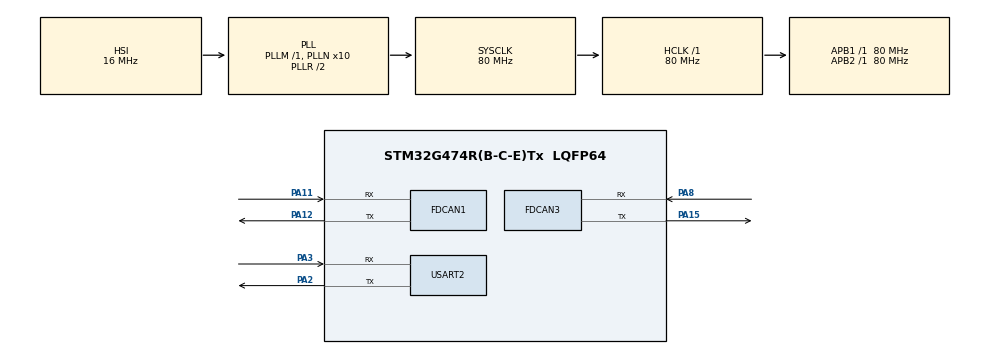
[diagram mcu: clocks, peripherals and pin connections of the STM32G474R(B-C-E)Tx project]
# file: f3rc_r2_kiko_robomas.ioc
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FDCAN1.CalculateBaudRateNominal=1000000
FDCAN1.CalculateTimeBitNominal=1000
FDCAN1.CalculateTimeQuantumNominal=50.0
FDCAN1.DataPrescaler=2
FDCAN1.DataTimeSeg1=15
FDCAN1.DataTimeSeg2=4
FDCAN1.FrameFormat=FDCAN_FRAME_FD_BRS
FDCAN1.NominalPrescaler=4
FDCAN1.NominalTimeSeg1=15
FDCAN1.NominalTimeSeg2=4
FDCAN1.StdFiltersNbr=1
FDCAN3.CalculateBaudRateNominal=1000000
FDCAN3.CalculateTimeBitNominal=1000
FDCAN3.CalculateTimeQuantumNominal=50.0
FDCAN3.DataPrescaler=2
FDCAN3.DataTimeSeg1=15
FDCAN3.DataTimeSeg2=4
FDCAN3.FrameFormat=FDCAN_FRAME_FD_BRS
FDCAN3.NominalPrescaler=4
FDCAN3.NominalTimeSeg1=15
FDCAN3.NominalTimeSeg2=4
FDCAN3.StdFiltersNbr=1
Mcu.Family=STM32G4
Mcu.Name=STM32G474R(B-C-E)Tx
Mcu.Package=LQFP64
NVIC.FDCAN1_IT0_IRQn=true\:0\:0\:false\:false\:true\:true\:true\:true
NVIC.FDCAN1_IT1_IRQn=true\:0\:0\:false\:false\:true\:true\:true\:true
NVIC.FDCAN3_IT0_IRQn=true\:0\:0\:false\:false\:true\:true\:true\:true
NVIC.FDCAN3_IT1_IRQn=true\:0\:0\:false\:false\:true\:true\:true\:true
NVIC.PriorityGroup=NVIC_PRIORITYGROUP_4
NVIC.TIM6_DAC_IRQn=true\:0\:0\:false\:false\:true\:true\:true\:true
PA11.Mode=FDCAN_Activate
PA11.Signal=FDCAN1_RX
PA12.Mode=FDCAN_Activate
PA12.Signal=FDCAN1_TX
PA15.Mode=FDCAN_Activate
PA15.Signal=FDCAN3_TX
PA2.Mode=Asynchronous
PA2.Signal=USART2_TX
PA3.Mode=Asynchronous
PA3.Signal=USART2_RX
PA8.Mode=FDCAN_Activate
PA8.Signal=FDCAN3_RX
ProjectManager.HeapSize=0x200
ProjectManager.StackSize=0x400
ProjectManager.TargetToolchain=STM32CubeIDE
RCC.ADC12Freq_Value=80000000
RCC.ADC345Freq_Value=80000000
RCC.AHBFreq_Value=80000000
RCC.APB1Freq_Value=80000000
RCC.APB1TimFreq_Value=80000000
RCC.APB2Freq_Value=80000000
RCC.APB2TimFreq_Value=80000000
RCC.CortexFreq_Value=80000000
RCC.EXTERNAL_CLOCK_VALUE=12288000
RCC.HCLKFreq_Value=80000000
RCC.HSE_VALUE=8000000
RCC.HSI48_VALUE=48000000
RCC.HSI_VALUE=16000000
RCC.LSE_VALUE=32768
RCC.PLLN=10
RCC.SYSCLKFreq_VALUE=80000000
RCC.SYSCLKSource=RCC_SYSCLKSOURCE_PLLCLK
RCC.USBFreq_Value=80000000
RCC.VCOOutputFreq_Value=160000000
TIM6.PeriodNoDither=7999
TIM6.Prescaler=9
USART2.VirtualMode-Asynchronous=VM_ASYNC
VP_SYS_VS_DBSignals.Mode=DisableDeadBatterySignals
VP_TIM6_VS_ClockSourceINT.Mode=Enable_Timer
board=custom

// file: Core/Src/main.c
/* USER CODE BEGIN Header */
/**
  ******************************************************************************
  * @file           : main.c
  * @brief          : Main program body
  ******************************************************************************
  * @attention
  *
  * Copyright (c) 2024 STMicroelectronics.
  * All rights reserved.
  *
  * This software is licensed under terms that can be found in the LICENSE file
  * in the root directory of this software component.
  * If no LICENSE file comes with this software, it is provided AS-IS.
  *
  ******************************************************************************
  */
/* USER CODE END Header */
#include "main.h"

/* USER CODE BEGIN Includes */
#include <stdio.h>
/* USER CODE END Includes */

/* USER CODE BEGIN PTD */
typedef struct{
	uint16_t CANID;
	uint8_t motorID;
	int16_t trgVel;
	volatile int16_t actVel;
	volatile int16_t p_actVel;
	volatile int16_t cu;
	double angle;
	int16_t actCurrent;
	float hensa;
	float ind;
	float w;
}motor;
/* USER CODE END PTD */

/* USER CODE BEGIN PD */
#define true 1
#define false 0
/* USER CODE END PD */

FDCAN_HandleTypeDef hfdcan1;
FDCAN_HandleTypeDef hfdcan3;

TIM_HandleTypeDef htim6;

UART_HandleTypeDef huart2;

/* USER CODE BEGIN PV */
FDCAN_TxHeaderTypeDef TxHeader;
FDCAN_RxHeaderTypeDef RxHeader;
FDCAN_TxHeaderTypeDef TxHeader_motor;
FDCAN_RxHeaderTypeDef RxHeader_motor;
FDCAN_FilterTypeDef sFilterConfig;

uint8_t TxData[8] = {};
uint8_t RxData[8] = {};
uint8_t TxData_motor[8] = {};
uint8_t RxData_motor[8] = {};
uint32_t TxMailbox;

motor robomas[3] = {
		{0x201, 1, 0, 0, 0, 0, 0, 0, 0, 0, 0},
		{0x202, 2, 0, 0, 0, 0, 0, 0, 0, 0, 0},
		{0x203, 3, 0, 0, 0, 0, 0, 0, 0, 0, 0}
};
uint8_t state = 0, state_kiko = 3;
uint8_t sub_state = 0;
volatile float k_p = 7, k_i = 0.5, k_d = 0.0001;
/* USER CODE END PV */

void SystemClock_Config(void);
static void MX_GPIO_Init(void);
static void MX_FDCAN1_Init(void);
static void MX_TIM6_Init(void);
static void MX_USART2_UART_Init(void);
static void MX_FDCAN3_Init(void);

/* USER CODE BEGIN 0 */
void HAL_TIM_PeriodElapsedCallback(TIM_HandleTypeDef *htim){
	if(htim == &htim6){
		robomas[0].trgVel = 36 * 45;
		robomas[1].trgVel = -36 * 90;
		robomas[2].trgVel = -36 * 60;
		if (0 == state || 1 == state) {
			robomas[0].trgVel = 0;
			robomas[1].trgVel = 0;
			robomas[2].trgVel = 0;
		}
		for (int i=0; i<=2; i++){
			robomas[i].hensa = robomas[i].trgVel - robomas[i].actVel;
			if (robomas[i].hensa >= 1000) robomas[i].hensa = 1000;
			else if (robomas[i].hensa <= -1000) robomas[i].hensa = -1000;
			float d = (robomas[i].actVel - robomas[i].p_actVel) / 0.001;
			robomas[i].ind += robomas[i].hensa*0.1;
			if (d >= 30000) d = 30000;
			else if (d <= -30000) d = -30000;
			if (robomas[i].ind >= 10000) robomas[i].ind = 10000;
			else if (robomas[i].ind <= -10000) robomas[i].ind = -10000;

			float t = k_p*robomas[i].hensa;
			if (t>=10000) t = 10000;
			else if (t<=-10000) t = -10000;
			robomas[i].cu = (int16_t)(t+k_i*robomas[i].ind+k_d*d);
			if (robomas[i].cu <= -10000) robomas[i].cu = -10000;
			else if (robomas[i].cu >= 10000) robomas[i].cu = 10000;

			TxData_motor[i*2] = (robomas[i].cu) >> 8;
			TxData_motor[i*2+1] = (uint8_t)((robomas[i].cu) & 0xff);
			robomas[i].p_actVel = robomas[i].actVel;
		}
		if (HAL_FDCAN_AddMessageToTxFifoQ(&hfdcan3, &TxHeader_motor, TxData_motor) != HAL_OK){
			printf("addmassage is error\r\n");
			Error_Handler();
		}
	}
}

void HAL_FDCAN_RxFifo0Callback(FDCAN_HandleTypeDef *hfdcan, uint32_t RxFifo0ITs){
	if ((RxFifo0ITs & FDCAN_IT_RX_FIFO0_NEW_MESSAGE) != RESET) {

	        /* Retrieve Rx messages from RX FIFO0 */
		if (HAL_FDCAN_GetRxMessage(&hfdcan3, FDCAN_RX_FIFO0, &RxHeader_motor, RxData_motor) != HAL_OK) {
			printf("fdcan_getrxmessage_motor is error\r\n");
			Error_Handler();
		}
		for (int i = 0; i < 3; i++) {
			if (RxHeader_motor.Identifier == (robomas[i].CANID)) {
				robomas[i].angle = (int16_t)((RxData_motor[0] << 8) | RxData_motor[1]);
				robomas[i].actVel = (int16_t)((RxData_motor[2] << 8) | RxData_motor[3]);
				robomas[i].actCurrent = (int16_t)((RxData_motor[4] << 8) | RxData_motor[5]);
			}
		}

	}

}

void HAL_FDCAN_RxFifo1Callback(FDCAN_HandleTypeDef *hfdcan, uint32_t RxFifo1ITs){
	if ((RxFifo1ITs & FDCAN_IT_RX_FIFO1_NEW_MESSAGE) != RESET) {

	        /* Retrieve Rx messages from RX FIFO0 */

		if (HAL_FDCAN_GetRxMessage(&hfdcan1, FDCAN_RX_FIFO1, &RxHeader, RxData) != HAL_OK) {
			printf("fdcan_getrxmessage is error\r\n");
			Error_Handler();
		}

		if (RxHeader.Identifier == 0x100) {
			state = RxData[0];
			sub_state = RxData[1];
		}
	}
}

void FDCAN_RxTxSettings(void){
	FDCAN_FilterTypeDef FDCAN_Filter_settings;
	FDCAN_Filter_settings.IdType = FDCAN_STANDARD_ID;
	FDCAN_Filter_settings.FilterIndex = 0;
	FDCAN_Filter_settings.FilterType = FDCAN_FILTER_RANGE;
	FDCAN_Filter_settings.FilterConfig = FDCAN_FILTER_TO_RXFIFO1;
	FDCAN_Filter_settings.FilterID1 = 0x000;
	FDCAN_Filter_settings.FilterID2 = 0x600;

	TxHeader.Identifier = 0x000;
	TxHeader.IdType = FDCAN_STANDARD_ID;
	TxHeader.TxFrameType = FDCAN_DATA_FRAME;
	TxHeader.DataLength = FDCAN_DLC_BYTES_8;
	TxHeader.ErrorStateIndicator = FDCAN_ESI_ACTIVE;
	TxHeader.BitRateSwitch = FDCAN_BRS_ON;
	TxHeader.FDFormat = FDCAN_FD_CAN;
	TxHeader.TxEventFifoControl = FDCAN_NO_TX_EVENTS;
	TxHeader.MessageMarker = 0;

	if (HAL_FDCAN_ConfigFilter(&hfdcan1, &FDCAN_Filter_settings) != HAL_OK){
		printf("fdcan_configfilter is error\r\n");
		Error_Handler();
	}

	if (HAL_FDCAN_ConfigGlobalFilter(&hfdcan1, FDCAN_REJECT, FDCAN_FILTER_REJECT, FDCAN_FILTER_REMOTE, FDCAN_FILTER_REMOTE) != HAL_OK){
		printf("fdcan_configglobalfilter is error\r\n");
		Error_Handler();
	}

	if (HAL_FDCAN_Start(&hfdcan1) != HAL_OK) {
		printf("fdcan_start is error\r\n");
		Error_Handler();
	}

	if (HAL_FDCAN_ActivateNotification(&hfdcan1, FDCAN_IT_RX_FIFO1_NEW_MESSAGE, 0) != HAL_OK){
		printf("fdcan_activatenotification is error\r\n");
		Error_Handler();
	}
}

void FDCAN_motor_RxTxSettings(void) {
	FDCAN_FilterTypeDef FDCAN_Filter_settings_motor;
	FDCAN_Filter_settings_motor.IdType = FDCAN_STANDARD_ID;
	FDCAN_Filter_settings_motor.FilterIndex = 0;
	FDCAN_Filter_settings_motor.FilterType = FDCAN_FILTER_RANGE;
	FDCAN_Filter_settings_motor.FilterConfig = FDCAN_FILTER_TO_RXFIFO0;
	FDCAN_Filter_settings_motor.FilterID1 = 0x200;
	FDCAN_Filter_settings_motor.FilterID2 = 0x210;

	TxHeader_motor.Identifier = 0x200;
	TxHeader_motor.IdType = FDCAN_STANDARD_ID;
	TxHeader_motor.TxFrameType = FDCAN_DATA_FRAME;
	TxHeader_motor.DataLength = FDCAN_DLC_BYTES_8;
	TxHeader_motor.ErrorStateIndicator = FDCAN_ESI_ACTIVE;
	TxHeader_motor.BitRateSwitch = FDCAN_BRS_OFF;
	TxHeader_motor.FDFormat = FDCAN_CLASSIC_CAN;
	TxHeader_motor.TxEventFifoControl = FDCAN_NO_TX_EVENTS;
	TxHeader_motor.MessageMarker = 0;

	if (HAL_FDCAN_ConfigFilter(&hfdcan3, &FDCAN_Filter_settings_motor) != HAL_OK){
		printf("fdcan_configfilter is error\r\n");
		Error_Handler();
	}

	if (HAL_FDCAN_ConfigGlobalFilter(&hfdcan3, FDCAN_REJECT, FDCAN_FILTER_REJECT, FDCAN_FILTER_REMOTE, FDCAN_FILTER_REMOTE)){
		printf("fdcan_configglobalfilter is error\r\n");
		Error_Handler();
	}

	if (HAL_FDCAN_Start(&hfdcan3) != HAL_OK) {
		printf("fdcan_start is error\r\n");
		Error_Handler();
	}

	if (HAL_FDCAN_ActivateNotification(&hfdcan3, FDCAN_IT_RX_FIFO0_NEW_MESSAGE, 0) != HAL_OK){
		printf("fdcan_activatenotification is error\r\n");
		Error_Handler();
	}
}

int _write(int file, char *ptr, int len)
{
    HAL_UART_Transmit(&huart2,(uint8_t *)ptr,len,10);
    return len;
}
/* USER CODE END 0 */

int main(void)
{

  /* USER CODE BEGIN 1 */
	setbuf(stdout, NULL);
  /* USER CODE END 1 */

  /* MCU Configuration--------------------------------------------------------*/

  /* Reset of all peripherals, Initializes the Flash interface and the Systick. */
  HAL_Init();

  /* Configure the system clock */
  SystemClock_Config();

  /* Initialize all configured peripherals */
  MX_GPIO_Init();
  MX_FDCAN1_Init();
  MX_TIM6_Init();
  MX_USART2_UART_Init();
  MX_FDCAN3_Init();
  /* USER CODE BEGIN 2 */
  printf("start\r\n");
  FDCAN_motor_RxTxSettings();
  printf("can_motor_start\r\n");
  FDCAN_RxTxSettings();
  printf("can_main_start\r\n");
  HAL_TIM_Base_Start_IT(&htim6);
  /* USER CODE END 2 */

  /* Infinite loop */
  /* USER CODE BEGIN WHILE */
  while (1)
  {
	  printf("%d, %d\r\n", state, sub_state);
	  HAL_Delay(10);
    /* USER CODE END WHILE */

  }
}

void SystemClock_Config(void)
{
  RCC_OscInitTypeDef RCC_OscInitStruct = {0};
  RCC_ClkInitTypeDef RCC_ClkInitStruct = {0};

  /** Configure the main internal regulator output voltage
  */
  HAL_PWREx_ControlVoltageScaling(PWR_REGULATOR_VOLTAGE_SCALE1);

  /** Initializes the RCC Oscillators according to the specified parameters
  * in the RCC_OscInitTypeDef structure.
  */
  RCC_OscInitStruct.OscillatorType = RCC_OSCILLATORTYPE_HSI;
  RCC_OscInitStruct.HSIState = RCC_HSI_ON;
  RCC_OscInitStruct.HSICalibrationValue = RCC_HSICALIBRATION_DEFAULT;
  RCC_OscInitStruct.PLL.PLLState = RCC_PLL_ON;
  RCC_OscInitStruct.PLL.PLLSource = RCC_PLLSOURCE_HSI;
  RCC_OscInitStruct.PLL.PLLM = RCC_PLLM_DIV1;
  RCC_OscInitStruct.PLL.PLLN = 10;
  RCC_OscInitStruct.PLL.PLLP = RCC_PLLP_DIV2;
  RCC_OscInitStruct.PLL.PLLQ = RCC_PLLQ_DIV2;
  RCC_OscInitStruct.PLL.PLLR = RCC_PLLR_DIV2;
  if (HAL_RCC_OscConfig(&RCC_OscInitStruct) != HAL_OK)
  {
    Error_Handler();
  }

  /** Initializes the CPU, AHB and APB buses clocks
  */
  RCC_ClkInitStruct.ClockType = RCC_CLOCKTYPE_HCLK|RCC_CLOCKTYPE_SYSCLK
                              |RCC_CLOCKTYPE_PCLK1|RCC_CLOCKTYPE_PCLK2;
  RCC_ClkInitStruct.SYSCLKSource = RCC_SYSCLKSOURCE_PLLCLK;
  RCC_ClkInitStruct.AHBCLKDivider = RCC_SYSCLK_DIV1;
  RCC_ClkInitStruct.APB1CLKDivider = RCC_HCLK_DIV1;
  RCC_ClkInitStruct.APB2CLKDivider = RCC_HCLK_DIV1;

  if (HAL_RCC_ClockConfig(&RCC_ClkInitStruct, FLASH_LATENCY_2) != HAL_OK)
  {
    Error_Handler();
  }
}

static void MX_FDCAN1_Init(void)
{

  hfdcan1.Instance = FDCAN1;
  hfdcan1.Init.ClockDivider = FDCAN_CLOCK_DIV1;
  hfdcan1.Init.FrameFormat = FDCAN_FRAME_FD_BRS;
  hfdcan1.Init.Mode = FDCAN_MODE_NORMAL;
  hfdcan1.Init.AutoRetransmission = DISABLE;
  hfdcan1.Init.TransmitPause = DISABLE;
  hfdcan1.Init.ProtocolException = DISABLE;
  hfdcan1.Init.NominalPrescaler = 4;
  hfdcan1.Init.NominalSyncJumpWidth = 1;
  hfdcan1.Init.NominalTimeSeg1 = 15;
  hfdcan1.Init.NominalTimeSeg2 = 4;
  hfdcan1.Init.DataPrescaler = 2;
  hfdcan1.Init.DataSyncJumpWidth = 1;
  hfdcan1.Init.DataTimeSeg1 = 15;
  hfdcan1.Init.DataTimeSeg2 = 4;
  hfdcan1.Init.StdFiltersNbr = 1;
  hfdcan1.Init.ExtFiltersNbr = 0;
  hfdcan1.Init.TxFifoQueueMode = FDCAN_TX_FIFO_OPERATION;
  if (HAL_FDCAN_Init(&hfdcan1) != HAL_OK)
  {
    Error_Handler();
  }

}

static void MX_FDCAN3_Init(void)
{

  hfdcan3.Instance = FDCAN3;
  hfdcan3.Init.ClockDivider = FDCAN_CLOCK_DIV1;
  hfdcan3.Init.FrameFormat = FDCAN_FRAME_FD_BRS;
  hfdcan3.Init.Mode = FDCAN_MODE_NORMAL;
  hfdcan3.Init.AutoRetransmission = DISABLE;
  hfdcan3.Init.TransmitPause = DISABLE;
  hfdcan3.Init.ProtocolException = DISABLE;
  hfdcan3.Init.NominalPrescaler = 4;
  hfdcan3.Init.NominalSyncJumpWidth = 1;
  hfdcan3.Init.NominalTimeSeg1 = 15;
  hfdcan3.Init.NominalTimeSeg2 = 4;
  hfdcan3.Init.DataPrescaler = 2;
  hfdcan3.Init.DataSyncJumpWidth = 1;
  hfdcan3.Init.DataTimeSeg1 = 15;
  hfdcan3.Init.DataTimeSeg2 = 4;
  hfdcan3.Init.StdFiltersNbr = 1;
  hfdcan3.Init.ExtFiltersNbr = 0;
  hfdcan3.Init.TxFifoQueueMode = FDCAN_TX_FIFO_OPERATION;
  if (HAL_FDCAN_Init(&hfdcan3) != HAL_OK)
  {
    Error_Handler();
  }

}

static void MX_TIM6_Init(void)
{

  TIM_MasterConfigTypeDef sMasterConfig = {0};

  htim6.Instance = TIM6;
  htim6.Init.Prescaler = 9;
  htim6.Init.CounterMode = TIM_COUNTERMODE_UP;
  htim6.Init.Period = 7999;
  htim6.Init.AutoReloadPreload = TIM_AUTORELOAD_PRELOAD_DISABLE;
  if (HAL_TIM_Base_Init(&htim6) != HAL_OK)
  {
    Error_Handler();
  }
  sMasterConfig.MasterOutputTrigger = TIM_TRGO_RESET;
  sMasterConfig.MasterSlaveMode = TIM_MASTERSLAVEMODE_DISABLE;
  if (HAL_TIMEx_MasterConfigSynchronization(&htim6, &sMasterConfig) != HAL_OK)
  {
    Error_Handler();
  }

}

static void MX_USART2_UART_Init(void)
{

  huart2.Instance = USART2;
  huart2.Init.BaudRate = 115200;
  huart2.Init.WordLength = UART_WORDLENGTH_8B;
  huart2.Init.StopBits = UART_STOPBITS_1;
  huart2.Init.Parity = UART_PARITY_NONE;
  huart2.Init.Mode = UART_MODE_TX_RX;
  huart2.Init.HwFlowCtl = UART_HWCONTROL_NONE;
  huart2.Init.OverSampling = UART_OVERSAMPLING_16;
  huart2.Init.OneBitSampling = UART_ONE_BIT_SAMPLE_DISABLE;
  huart2.Init.ClockPrescaler = UART_PRESCALER_DIV1;
  huart2.AdvancedInit.AdvFeatureInit = UART_ADVFEATURE_NO_INIT;
  if (HAL_UART_Init(&huart2) != HAL_OK)
  {
    Error_Handler();
  }
  if (HAL_UARTEx_SetTxFifoThreshold(&huart2, UART_TXFIFO_THRESHOLD_1_8) != HAL_OK)
  {
    Error_Handler();
  }
  if (HAL_UARTEx_SetRxFifoThreshold(&huart2, UART_RXFIFO_THRESHOLD_1_8) != HAL_OK)
  {
    Error_Handler();
  }
  if (HAL_UARTEx_DisableFifoMode(&huart2) != HAL_OK)
  {
    Error_Handler();
  }

}

static void MX_GPIO_Init(void)
{

  /* GPIO Ports Clock Enable */
  __HAL_RCC_GPIOA_CLK_ENABLE();

}

void Error_Handler(void)
{
  /* USER CODE BEGIN Error_Handler_Debug */
  /* User can add his own implementation to report the HAL error return state */
  __disable_irq();
  printf("Error\r\n");
  while (1)
  {
  }
  /* USER CODE END Error_Handler_Debug */
}
